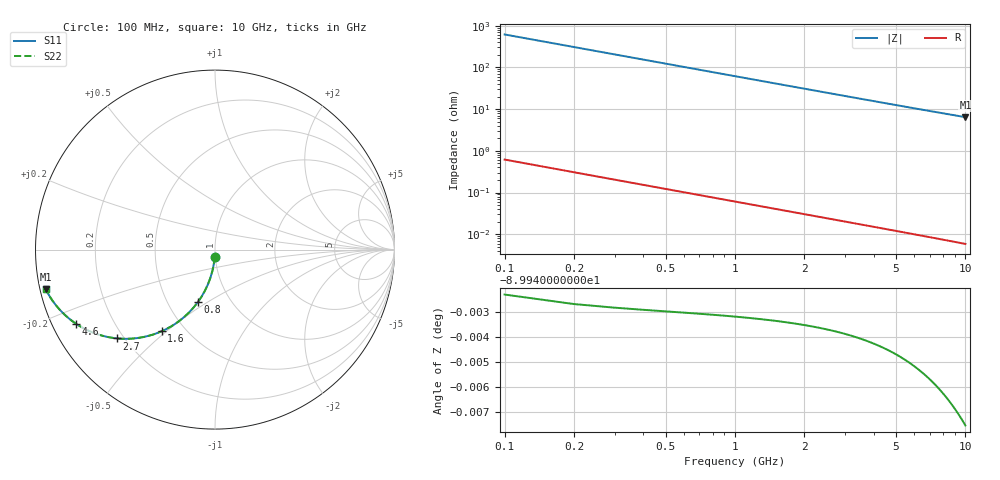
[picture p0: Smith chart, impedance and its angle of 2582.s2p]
# Hz S RI R 50.00
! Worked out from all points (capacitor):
!   100 points, 100 MHz to 10 GHz, reference 50 ohm
!   read as one part in shunt: C = 2.6 pF near 100 MHz
!   lowest |Z| = 6.42 ohm at 10 GHz (marker M1)
!   S11 on the Smith chart (normalised r, x): 100 MHz: 0.99, -0.08; 800 MHz: 0.70, -0.46; 1.6 GHz: 0.37, -0.48; 2.7 GHz: 0.17, -0.38; 4.6 GHz: 0.07, -0.25; 10 GHz: 0.02, -0.12
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1e8  -0.00168 -0.0406  0.9983 -0.0408  0.9983 -0.0408  -0.00168 -0.0406
2e8  -0.00667 -0.0808  0.9933 -0.0812  0.9933 -0.0812  -0.00667 -0.0808
3e8  -0.0148 -0.1202  0.9851 -0.1208  0.9851 -0.1208  -0.0148 -0.1202
4e8  -0.026 -0.1584  0.9739 -0.1592  0.9739 -0.1592  -0.026 -0.1584
5e8  -0.04 -0.1951  0.9599 -0.1961  0.9599 -0.1961  -0.04 -0.1951
6e8  -0.0566 -0.23  0.9434 -0.2312  0.9434 -0.2312  -0.0566 -0.23
8e8  -0.0962 -0.2937  0.9037 -0.2952  0.9037 -0.2952  -0.0962 -0.2937
1e9  -0.1425 -0.3481  0.8575 -0.35  0.8575 -0.35  -0.1425 -0.3481
1.2e9  -0.1929 -0.3929  0.8071 -0.3952  0.8071 -0.3952  -0.1929 -0.3929
1.4e9  -0.2452 -0.4284  0.7547 -0.4311  0.7547 -0.4311  -0.2452 -0.4284
1.6e9  -0.2977 -0.4552  0.7022 -0.4583  0.7022 -0.4583  -0.2977 -0.4552
1.8e9  -0.3489 -0.4744  0.651 -0.4779  0.651 -0.4779  -0.3489 -0.4744
2.2e9  -0.4442 -0.4942  0.5558 -0.4985  0.5558 -0.4985  -0.4442 -0.4942
2.7e9  -0.5457 -0.4948  0.4543 -0.5001  0.4543 -0.5001  -0.5457 -0.4948
3.4e9  -0.6551 -0.4715  0.3449 -0.4782  0.3449 -0.4782  -0.6551 -0.4715
4e9  -0.724 -0.4425  0.2759 -0.4505  0.2759 -0.4505  -0.724 -0.4425
4.6e9  -0.776 -0.4118  0.2239 -0.421  0.2239 -0.421  -0.776 -0.4118
5.1e9  -0.8097 -0.3869  0.1902 -0.3971  0.1902 -0.3971  -0.8097 -0.3869
5.8e9  -0.8461 -0.3545  0.1538 -0.3662  0.1538 -0.3662  -0.8461 -0.3545
6.7e9  -0.88 -0.3176  0.1199 -0.3312  0.1199 -0.3312  -0.88 -0.3176
8.4e9  -0.9202 -0.2617  0.0796 -0.2789  0.0796 -0.2789  -0.9202 -0.2617
1e10  -0.9425 -0.2217  0.0573 -0.2424  0.0573 -0.2424  -0.9425 -0.2217
